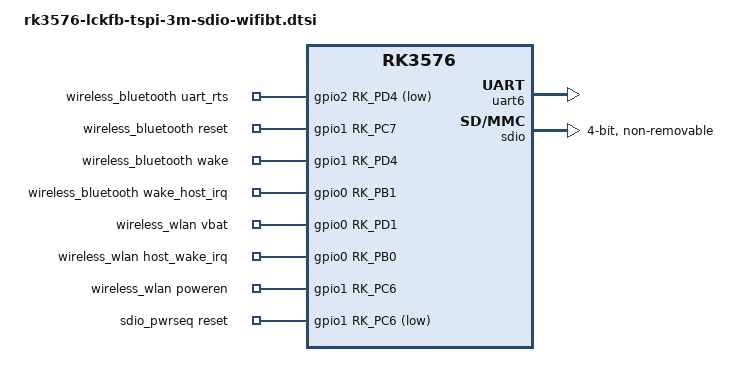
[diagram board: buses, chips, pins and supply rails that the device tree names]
/********************************************************************
 * SPDX-License-Identifier: (GPL-2.0+ OR MIT)
 * 
 * Copyright (c) 2023 Rockchip Electronics Co., Ltd.
 * Copyright (c) 2026 LCKFB <lckfb@sz-jlc.com>
 *********************************************************************
 * Wiki-(Chinese)：https://wiki.lckfb.com/
 * Wiki-(English)：https://wiki.lckfb.com/en/
 *********************************************************************/

/ {
	/*
	 * Bluetooth Platform Data Node
	 * compatible: Bluetooth driver platform type
	 * uart_rts_gpios: Bluetooth UART RTS pin
	 * pinctrl-names: Default and RTS dedicated pinmux configuration
	 * pinctrl-0: UART6 RTS signal pin
	 * pinctrl-1: UART6 GPIO pin
	 * BT,reset_gpio: Bluetooth module reset pin
	 * BT,wake_gpio: Bluetooth wake pin
	 * BT,wake_host_irq: Bluetooth wake host interrupt pin
	 */
	wireless_bluetooth: wireless-bluetooth {
		status = "okay";                                      // Enable Bluetooth
		compatible = "bluetooth-platdata";
		clocks = <&hym8563>;                            	  // RTC output 32KHz clock
		clock-names = "ext_clock";
		uart_rts_gpios = <&gpio2 RK_PD4 GPIO_ACTIVE_LOW>;     // UART RTS pin
		pinctrl-names = "default", "rts_gpio";                // Default/RTS pin configuration
		pinctrl-0 = <&uart6m1_rtsn>;                          // UART6 RTS
		pinctrl-1 = <&uart6_gpios>;                           // UART6 GPIO
		BT,reset_gpio    = <&gpio1 RK_PC7 GPIO_ACTIVE_HIGH>;  // Bluetooth reset
		BT,wake_gpio     = <&gpio1 RK_PD4 GPIO_ACTIVE_HIGH>;  // Bluetooth wake
		BT,wake_host_irq = <&gpio0 RK_PB1 GPIO_ACTIVE_HIGH>;  // Wake host interrupt
	};

	/*
	 * WiFi Platform Data Node
	 * compatible: WiFi driver platform type
	 * clocks: External clock source (RTC 32KHz here, must ensure RTC is started)
	 * wifi_chip_type: WiFi chip model
	 * pinctrl-names: Default pinmux configuration
	 * pinctrl-0: WiFi wake host IRQ pin
	 * WIFI,vbat_gpio: WiFi VBAT power control pin
	 * WIFI,host_wake_irq: WiFi wake host interrupt pin
	 * WIFI,poweren_gpio: WiFi power enable pin (comment out if using sdio_pwrseq)
	 */
	wireless_wlan: wireless-wlan {
		status = "okay";                                // Enable WiFi
		compatible = "wlan-platdata";
		clocks = <&hym8563>;                            // RTC output 32KHz clock
		clock-names = "ext_clock";
		wifi_chip_type = "";                      		// WiFi chip type (currently not identified by this property)
		pinctrl-names = "default";
		pinctrl-0 = <&wifi_host_wake_irq>;              // Wake host IRQ pin
		WIFI,vbat_gpio = <&gpio0 RK_PD1 GPIO_ACTIVE_HIGH>; // VBAT power enable
		WIFI,host_wake_irq = <&gpio0 RK_PB0 GPIO_ACTIVE_HIGH>; // Wake host
		WIFI,poweren_gpio = <&gpio1 RK_PC6 GPIO_ACTIVE_HIGH>; // WiFi power enable (needed for rfkill recovery)
	};

	/*
	 * SDIO Power Sequence Node
	 * compatible: Simple power sequence driver
	 * pinctrl-names/0: Power enable pin configuration
	 * post-power-on-delay-ms: Power-on delay (e.g. 200ms)
	 * reset-gpios: WiFi module reset pin (active low reset)
	 */
	sdio_pwrseq: sdio-pwrseq {
		status = "okay";                                 // Enable SDIO power sequence
		compatible = "mmc-pwrseq-simple";
		pinctrl-names = "default";
		pinctrl-0 = <&wifi_poweren_gpio>;
		post-power-on-delay-ms = <200>;                  // Power-on delay
		reset-gpios = <&gpio1 RK_PC6 GPIO_ACTIVE_LOW>;   // Reset pin
	};
};

/*-----------------------------------------------------------
 * Bluetooth UART Controller Node (UART6)
 * pinctrl-names/0: UART6 signal + CTS pin configuration
 * status: Enable UART6
 *----------------------------------------------------------*/
&uart6 {
	pinctrl-names = "default";
	pinctrl-0 = <&uart6m1_xfer &uart6m1_ctsn>;
	status = "okay";
};

/*-----------------------------------------------------------
 * WiFi/BT SDIO Controller Node
 * Main property descriptions:
 * max-frequency: Supports maximum frequency 200MHz
 * no-sd/no-mmc: Disable normal SD/MMC card function, SDIO only
 * bus-width: Data bus 4-bit
 * disable-wp: Disable write protection
 * cap-sd-highspeed: Supports high-speed SD
 * cap-sdio-irq: Supports SDIO interrupt
 * keep-power-in-suspend: Keep power during suspend
 * mmc-pwrseq: Bind SDIO power sequence node
 * non-removable: Onboard module non-removable
 * pinctrl-names/0: SDIO signal pin configuration
 * sd-uhs-sdr104: Supports SDR104 (up to 104MB/s)
 *----------------------------------------------------------*/
&sdio {
	status = "okay";
	max-frequency = <200000000>;
	no-sd;
	no-mmc;
	bus-width = <4>;
	disable-wp;
	cap-sd-highspeed;
	cap-sdio-irq;
	keep-power-in-suspend;
	mmc-pwrseq = <&sdio_pwrseq>;
	non-removable;
	pinctrl-names = "default";
	pinctrl-0 = <&sdmmc1m0_bus4 &sdmmc1m0_clk &sdmmc1m0_cmd>;
	sd-uhs-sdr104;
};

/*-----------------------------------------------------------
 * Pin Multiplexing Configuration (Pinmux)
 * Pinmux Node for Wireless (WiFi/BT)
 * wireless-bluetooth: Bluetooth UART6 RTS GPIO
 * wireless-wlan: WiFi wake host IRQ & WiFi power enable GPIO
 *----------------------------------------------------------*/
&pinctrl {
	wireless-bluetooth {
		uart6_gpios: uart6-gpios {
			rockchip,pins = <2 RK_PD4 RK_FUNC_GPIO &pcfg_pull_none>;   // UART6 RTS GPIO
		};
	};

	wireless-wlan {
		wifi_host_wake_irq: wifi-host-wake-irq {
			rockchip,pins = <0 RK_PB0 RK_FUNC_GPIO &pcfg_pull_down>;   // WiFi wake host IRQ
		};

		wifi_poweren_gpio: wifi-poweren-gpio {
			rockchip,pins = <1 RK_PC6 RK_FUNC_GPIO &pcfg_pull_up>;     // WiFi power enable GPIO
		};
	};
};

